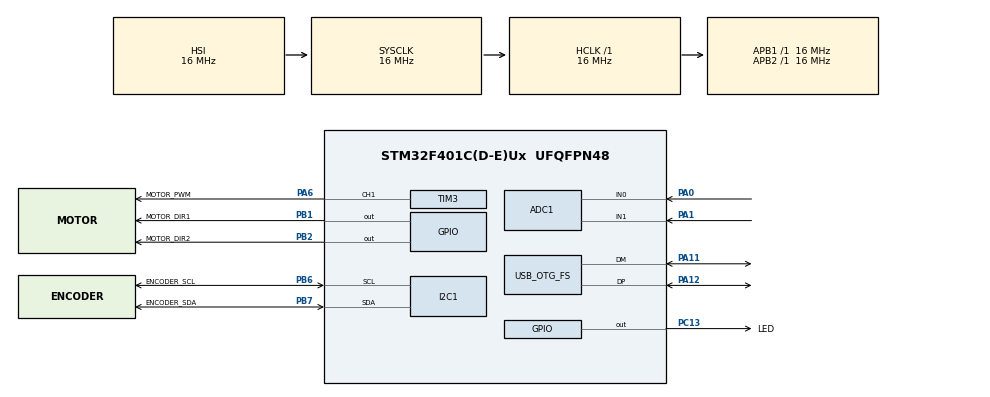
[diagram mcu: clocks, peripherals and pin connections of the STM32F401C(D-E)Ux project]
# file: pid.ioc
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ADC1.Channel-2\#ChannelRegularConversion=ADC_CHANNEL_0
ADC1.Channel-3\#ChannelRegularConversion=ADC_CHANNEL_1
ADC1.ContinuousConvMode=ENABLE
ADC1.NbrOfConversion=2
ADC1.NbrOfConversionFlag=1
ADC1.Rank-2\#ChannelRegularConversion=1
ADC1.Rank-3\#ChannelRegularConversion=2
ADC1.SamplingTime-2\#ChannelRegularConversion=ADC_SAMPLETIME_3CYCLES
ADC1.SamplingTime-3\#ChannelRegularConversion=ADC_SAMPLETIME_3CYCLES
ADC1.master=1
Mcu.Family=STM32F4
Mcu.Name=STM32F401C(D-E)Ux
Mcu.Package=UFQFPN48
NVIC.OTG_FS_IRQn=true\:0\:0\:false\:false\:true\:false\:true\:true
NVIC.PriorityGroup=NVIC_PRIORITYGROUP_4
PA0-WKUP.Signal=ADCx_IN0
PA1.Signal=ADCx_IN1
PA11.Mode=Device_Only
PA11.Signal=USB_OTG_FS_DM
PA12.Mode=Device_Only
PA12.Signal=USB_OTG_FS_DP
PA13.Mode=Serial_Wire
PA13.Signal=SYS_JTMS-SWDIO
PA14.Mode=Serial_Wire
PA14.Signal=SYS_JTCK-SWCLK
PA6.GPIO_Label=MOTOR_PWM
PA6.Signal=S_TIM3_CH1
PB1.GPIO_Label=MOTOR_DIR1
PB1.Signal=GPIO_Output
PB2.GPIO_Label=MOTOR_DIR2
PB2.Signal=GPIO_Output
PB6.GPIO_Label=ENCODER_SCL
PB6.Mode=I2C
PB6.Signal=I2C1_SCL
PB7.GPIO_Label=ENCODER_SDA
PB7.Mode=I2C
PB7.Signal=I2C1_SDA
PC13-ANTI_TAMP.GPIO_Label=LED
PC13-ANTI_TAMP.Signal=GPIO_Output
PH0\ -\ OSC_IN.Mode=HSE-External-Oscillator
PH0\ -\ OSC_IN.Signal=RCC_OSC_IN
PH1\ -\ OSC_OUT.Mode=HSE-External-Oscillator
PH1\ -\ OSC_OUT.Signal=RCC_OSC_OUT
ProjectManager.HeapSize=0x200
ProjectManager.StackSize=0x400
ProjectManager.TargetToolchain=CMake
RCC.48MHZClocksFreq_Value=48000000
RCC.AHBFreq_Value=16000000
RCC.APB1Freq_Value=16000000
RCC.APB2Freq_Value=16000000
RCC.CortexFreq_Value=16000000
RCC.HSE_VALUE=25000000
RCC.HSI_VALUE=16000000
RCC.LSE_VALUE=32768
RCC.PLLM=15
RCC.PLLN=144
RCC.PLLQ=5
RCC.SYSCLKFreq_VALUE=16000000
RCC.VCOOutputFreq_Value=240000000
SH.ADCx_IN0.0=ADC1_IN0,IN0
SH.ADCx_IN1.0=ADC1_IN1,IN1
SH.S_TIM3_CH1.0=TIM3_CH1,PWM Generation1 CH1
TIM3.Channel-PWM\ Generation1\ CH1=TIM_CHANNEL_1
USB_DEVICE.CLASS_NAME_FS=CDC
USB_DEVICE.VirtualMode-CDC_FS=Cdc
USB_DEVICE.VirtualModeFS=Cdc_FS
USB_OTG_FS.VirtualMode=Device_Only
VP_TIM3_VS_ClockSourceINT.Mode=Internal
VP_USB_DEVICE_VS_USB_DEVICE_CDC_FS.Mode=CDC_FS
board=custom

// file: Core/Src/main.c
/* USER CODE BEGIN Header */
/**
  ******************************************************************************
  * @file           : main.c
  * @brief          : Main program body
  ******************************************************************************
  * @attention
  *
  * Copyright (c) 2024 STMicroelectronics.
  * All rights reserved.
  *
  * This software is licensed under terms that can be found in the LICENSE file
  * in the root directory of this software component.
  * If no LICENSE file comes with this software, it is provided AS-IS.
  *
  ******************************************************************************
  */
/* USER CODE END Header */
#include "main.h"
#include "usb_device.h"

/* USER CODE BEGIN Includes */
#include <stdio.h>
/* USER CODE END Includes */

ADC_HandleTypeDef hadc1;

I2C_HandleTypeDef hi2c1;

TIM_HandleTypeDef htim3;

/* USER CODE BEGIN PV */
void get_encoder_angle(uint32_t *const angle);
void detectar_vueltas(uint16_t angle, uint16_t pangle, uint16_t *vueltas);
long map(long x, long in_min, long in_max, long out_min, long out_max);
/* USER CODE END PV */

void SystemClock_Config(void);
static void MX_GPIO_Init(void);
static void MX_I2C1_Init(void);
static void MX_TIM3_Init(void);
static void MX_ADC1_Init(void);
/* USER CODE BEGIN PFP */
extern uint8_t CDC_Transmit_FS(uint8_t* Buf, uint16_t Len);
/* USER CODE END PFP */

/* USER CODE BEGIN 0 */
uint16_t vueltas = 0;
uint32_t angle = 0, pangle = 0;
int32_t tangle = 0;
/* USER CODE END 0 */

int main(void)
{

  /* MCU Configuration--------------------------------------------------------*/

  /* Reset of all peripherals, Initializes the Flash interface and the Systick. */
  HAL_Init();

  /* Configure the system clock */
  SystemClock_Config();

  /* Initialize all configured peripherals */
  MX_GPIO_Init();
  MX_USB_DEVICE_Init();
  MX_I2C1_Init();
  MX_TIM3_Init();
  MX_ADC1_Init();
  /* USER CODE BEGIN 2 */
  unsigned long seed = 0xFFFF;
  uint32_t time = 0, ptime = 0;

  uint32_t counter = 0;
  float vel_mul = 0.01;

  HAL_TIM_Base_Start(&htim3);
  /* USER CODE END 2 */

  /* Infinite loop */
  /* USER CODE BEGIN WHILE */
  while (1)
  {
    counter++;
    get_encoder_angle(&angle);
    angle = map(angle, 0, 4088, 0, 360);
    detectar_vueltas(angle, pangle, &vueltas);
    tangle = (vueltas * 360) + angle;

    if (tangle < 0) {
      tangle = 0;
    }

    unsigned long xo = seed ^ (seed >> 3) >> 1; // señal prbs
    unsigned long dir = (xo & 0x0001); // dirección

    // recorrer y actualizar señal
    seed = (seed >> 1);
    seed = (seed + (dir << 31));

    if (counter >= 200) {
      vel_mul += 0.05;
      counter = 0;
    }

    if (vel_mul > 1) {
      vel_mul = 0.01;
    }

    uint16_t vel = 65535*vel_mul;
    __HAL_TIM_SET_COMPARE(&htim3, TIM_CHANNEL_1, vel);
    HAL_TIM_OC_Start(&htim3, TIM_CHANNEL_1);

    if (dir == 1) {
      HAL_GPIO_WritePin(MOTOR_DIR1_GPIO_Port, MOTOR_DIR1_Pin, RESET);
      HAL_GPIO_WritePin(MOTOR_DIR2_GPIO_Port, MOTOR_DIR2_Pin, SET);
    } else {
      HAL_GPIO_WritePin(MOTOR_DIR1_GPIO_Port, MOTOR_DIR1_Pin, SET);
      HAL_GPIO_WritePin(MOTOR_DIR2_GPIO_Port, MOTOR_DIR2_Pin, RESET);
    }

    HAL_Delay(1);

    ptime = time;
    time = HAL_GetTick();

    printf("%ld, %ld, %ld;\n\r", tangle, vel*dir, time-ptime );
    HAL_GPIO_TogglePin(LED_GPIO_Port, LED_Pin);

    ptime = time;
    pangle = angle;
    /* USER CODE END WHILE */

  }
}

void SystemClock_Config(void)
{
  RCC_OscInitTypeDef RCC_OscInitStruct = {0};
  RCC_ClkInitTypeDef RCC_ClkInitStruct = {0};

  /** Configure the main internal regulator output voltage
  */
  __HAL_RCC_PWR_CLK_ENABLE();
  __HAL_PWR_VOLTAGESCALING_CONFIG(PWR_REGULATOR_VOLTAGE_SCALE2);

  /** Initializes the RCC Oscillators according to the specified parameters
  * in the RCC_OscInitTypeDef structure.
  */
  RCC_OscInitStruct.OscillatorType = RCC_OSCILLATORTYPE_HSI|RCC_OSCILLATORTYPE_HSE;
  RCC_OscInitStruct.HSEState = RCC_HSE_ON;
  RCC_OscInitStruct.HSIState = RCC_HSI_ON;
  RCC_OscInitStruct.HSICalibrationValue = RCC_HSICALIBRATION_DEFAULT;
  RCC_OscInitStruct.PLL.PLLState = RCC_PLL_ON;
  RCC_OscInitStruct.PLL.PLLSource = RCC_PLLSOURCE_HSE;
  RCC_OscInitStruct.PLL.PLLM = 15;
  RCC_OscInitStruct.PLL.PLLN = 144;
  RCC_OscInitStruct.PLL.PLLP = RCC_PLLP_DIV2;
  RCC_OscInitStruct.PLL.PLLQ = 5;
  if (HAL_RCC_OscConfig(&RCC_OscInitStruct) != HAL_OK)
  {
    Error_Handler();
  }

  /** Initializes the CPU, AHB and APB buses clocks
  */
  RCC_ClkInitStruct.ClockType = RCC_CLOCKTYPE_HCLK|RCC_CLOCKTYPE_SYSCLK
                              |RCC_CLOCKTYPE_PCLK1|RCC_CLOCKTYPE_PCLK2;
  RCC_ClkInitStruct.SYSCLKSource = RCC_SYSCLKSOURCE_HSI;
  RCC_ClkInitStruct.AHBCLKDivider = RCC_SYSCLK_DIV1;
  RCC_ClkInitStruct.APB1CLKDivider = RCC_HCLK_DIV1;
  RCC_ClkInitStruct.APB2CLKDivider = RCC_HCLK_DIV1;

  if (HAL_RCC_ClockConfig(&RCC_ClkInitStruct, FLASH_LATENCY_0) != HAL_OK)
  {
    Error_Handler();
  }
}

static void MX_ADC1_Init(void)
{

  ADC_ChannelConfTypeDef sConfig = {0};

  /** Configure the global features of the ADC (Clock, Resolution, Data Alignment and number of conversion)
  */
  hadc1.Instance = ADC1;
  hadc1.Init.ClockPrescaler = ADC_CLOCK_SYNC_PCLK_DIV2;
  hadc1.Init.Resolution = ADC_RESOLUTION_12B;
  hadc1.Init.ScanConvMode = DISABLE;
  hadc1.Init.ContinuousConvMode = DISABLE;
  hadc1.Init.DiscontinuousConvMode = DISABLE;
  hadc1.Init.ExternalTrigConvEdge = ADC_EXTERNALTRIGCONVEDGE_NONE;
  hadc1.Init.ExternalTrigConv = ADC_SOFTWARE_START;
  hadc1.Init.DataAlign = ADC_DATAALIGN_RIGHT;
  hadc1.Init.NbrOfConversion = 1;
  hadc1.Init.DMAContinuousRequests = DISABLE;
  hadc1.Init.EOCSelection = ADC_EOC_SINGLE_CONV;
  if (HAL_ADC_Init(&hadc1) != HAL_OK)
  {
    Error_Handler();
  }

  /** Configure for the selected ADC regular channel its corresponding rank in the sequencer and its sample time.
  */
  sConfig.Channel = ADC_CHANNEL_0;
  sConfig.Rank = 1;
  sConfig.SamplingTime = ADC_SAMPLETIME_3CYCLES;
  if (HAL_ADC_ConfigChannel(&hadc1, &sConfig) != HAL_OK)
  {
    Error_Handler();
  }

}

static void MX_I2C1_Init(void)
{

  hi2c1.Instance = I2C1;
  hi2c1.Init.ClockSpeed = 100000;
  hi2c1.Init.DutyCycle = I2C_DUTYCYCLE_2;
  hi2c1.Init.OwnAddress1 = 0;
  hi2c1.Init.AddressingMode = I2C_ADDRESSINGMODE_7BIT;
  hi2c1.Init.DualAddressMode = I2C_DUALADDRESS_DISABLE;
  hi2c1.Init.OwnAddress2 = 0;
  hi2c1.Init.GeneralCallMode = I2C_GENERALCALL_DISABLE;
  hi2c1.Init.NoStretchMode = I2C_NOSTRETCH_DISABLE;
  if (HAL_I2C_Init(&hi2c1) != HAL_OK)
  {
    Error_Handler();
  }

}

static void MX_TIM3_Init(void)
{

  TIM_ClockConfigTypeDef sClockSourceConfig = {0};
  TIM_MasterConfigTypeDef sMasterConfig = {0};
  TIM_OC_InitTypeDef sConfigOC = {0};

  htim3.Instance = TIM3;
  htim3.Init.Prescaler = 0;
  htim3.Init.CounterMode = TIM_COUNTERMODE_UP;
  htim3.Init.Period = 65535;
  htim3.Init.ClockDivision = TIM_CLOCKDIVISION_DIV1;
  htim3.Init.AutoReloadPreload = TIM_AUTORELOAD_PRELOAD_DISABLE;
  if (HAL_TIM_Base_Init(&htim3) != HAL_OK)
  {
    Error_Handler();
  }
  sClockSourceConfig.ClockSource = TIM_CLOCKSOURCE_INTERNAL;
  if (HAL_TIM_ConfigClockSource(&htim3, &sClockSourceConfig) != HAL_OK)
  {
    Error_Handler();
  }
  if (HAL_TIM_PWM_Init(&htim3) != HAL_OK)
  {
    Error_Handler();
  }
  sMasterConfig.MasterOutputTrigger = TIM_TRGO_RESET;
  sMasterConfig.MasterSlaveMode = TIM_MASTERSLAVEMODE_DISABLE;
  if (HAL_TIMEx_MasterConfigSynchronization(&htim3, &sMasterConfig) != HAL_OK)
  {
    Error_Handler();
  }
  sConfigOC.OCMode = TIM_OCMODE_PWM1;
  sConfigOC.Pulse = 0;
  sConfigOC.OCPolarity = TIM_OCPOLARITY_HIGH;
  sConfigOC.OCFastMode = TIM_OCFAST_DISABLE;
  if (HAL_TIM_PWM_ConfigChannel(&htim3, &sConfigOC, TIM_CHANNEL_1) != HAL_OK)
  {
    Error_Handler();
  }
  HAL_TIM_MspPostInit(&htim3);

}

static void MX_GPIO_Init(void)
{
  GPIO_InitTypeDef GPIO_InitStruct = {0};

  /* GPIO Ports Clock Enable */
  __HAL_RCC_GPIOC_CLK_ENABLE();
  __HAL_RCC_GPIOH_CLK_ENABLE();
  __HAL_RCC_GPIOA_CLK_ENABLE();
  __HAL_RCC_GPIOB_CLK_ENABLE();

  /*Configure GPIO pin Output Level */
  HAL_GPIO_WritePin(LED_GPIO_Port, LED_Pin, GPIO_PIN_RESET);

  /*Configure GPIO pin Output Level */
  HAL_GPIO_WritePin(GPIOB, MOTOR_DIR1_Pin|MOTOR_DIR2_Pin, GPIO_PIN_RESET);

  /*Configure GPIO pin : LED_Pin */
  GPIO_InitStruct.Pin = LED_Pin;
  GPIO_InitStruct.Mode = GPIO_MODE_OUTPUT_PP;
  GPIO_InitStruct.Pull = GPIO_NOPULL;
  GPIO_InitStruct.Speed = GPIO_SPEED_FREQ_LOW;
  HAL_GPIO_Init(LED_GPIO_Port, &GPIO_InitStruct);

  /*Configure GPIO pins : MOTOR_DIR1_Pin MOTOR_DIR2_Pin */
  GPIO_InitStruct.Pin = MOTOR_DIR1_Pin|MOTOR_DIR2_Pin;
  GPIO_InitStruct.Mode = GPIO_MODE_OUTPUT_PP;
  GPIO_InitStruct.Pull = GPIO_NOPULL;
  GPIO_InitStruct.Speed = GPIO_SPEED_FREQ_LOW;
  HAL_GPIO_Init(GPIOB, &GPIO_InitStruct);

}

/* USER CODE BEGIN 4 */
void get_encoder_angle(uint32_t *const angle) {
  HAL_ADC_Start(&hadc1);
  HAL_ADC_PollForConversion(&hadc1, 1);
  *angle = HAL_ADC_GetValue(&hadc1);
}

void detectar_vueltas(uint16_t angle, uint16_t pangle, uint16_t *vueltas) {
  int16_t diferencia = angle - pangle;

  // Detecta vueltas completas hacia atrás o adelante basadas en un umbral
  if (diferencia > 180) {
    *vueltas = *vueltas - 1;  // Vuelta hacia atrás
  } else if (diferencia < -180) {
    *vueltas = *vueltas + 1;  // Vuelta hacia adelante
  }
}

int _write(int file, char *ptr, int len) {
  static uint8_t rc = USBD_OK;

  do {
    rc = CDC_Transmit_FS((uint8_t*)ptr, len);
  } while (USBD_BUSY == rc);

  if (USBD_FAIL == rc) {
    Error_Handler();
  }
  return len;
}

long map(long x, long in_min, long in_max, long out_min, long out_max)
{
  return (x - in_min) * (out_max - out_min) / (in_max - in_min) + out_min;
}
/* USER CODE END 4 */

void Error_Handler(void)
{
  __disable_irq();
  while (1)
  {
  }
}
